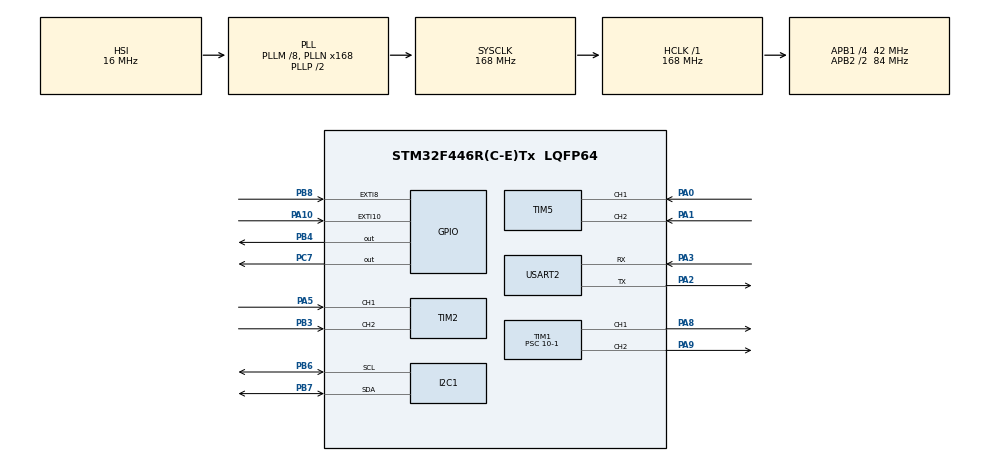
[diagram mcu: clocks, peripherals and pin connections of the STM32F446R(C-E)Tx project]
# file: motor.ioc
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Mcu.Family=STM32F4
Mcu.Name=STM32F446R(C-E)Tx
Mcu.Package=LQFP64
NVIC.EXTI15_10_IRQn=true\:0\:0\:false\:false\:true\:true\:true\:true
NVIC.EXTI9_5_IRQn=true\:0\:0\:false\:false\:true\:true\:true\:true
NVIC.PriorityGroup=NVIC_PRIORITYGROUP_4
NVIC.TIM2_IRQn=true\:0\:0\:false\:false\:true\:true\:true\:true
NVIC.TIM5_IRQn=true\:0\:0\:false\:false\:true\:true\:true\:true
PA0-WKUP.Signal=S_TIM5_CH1
PA1.Signal=S_TIM5_CH2
PA10.GPIO_ModeDefaultEXTI=GPIO_MODE_IT_FALLING
PA10.Signal=GPXTI10
PA2.Mode=Asynchronous
PA2.Signal=USART2_TX
PA3.Mode=Asynchronous
PA3.Signal=USART2_RX
PA5.Signal=S_TIM2_CH1_ETR
PA8.Signal=S_TIM1_CH1
PA9.Signal=S_TIM1_CH2
PB3.Signal=S_TIM2_CH2
PB4.Signal=GPIO_Output
PB6.Mode=I2C
PB6.Signal=I2C1_SCL
PB7.Mode=I2C
PB7.Signal=I2C1_SDA
PB8.Signal=GPXTI8
PC14-OSC32_IN.Mode=LSE-External-Oscillator
PC14-OSC32_IN.Signal=RCC_OSC32_IN
PC15-OSC32_OUT.Mode=LSE-External-Oscillator
PC15-OSC32_OUT.Signal=RCC_OSC32_OUT
PC7.Signal=GPIO_Output
PH0-OSC_IN.Mode=HSE-External-Oscillator
PH0-OSC_IN.Signal=RCC_OSC_IN
PH1-OSC_OUT.Mode=HSE-External-Oscillator
PH1-OSC_OUT.Signal=RCC_OSC_OUT
ProjectManager.HeapSize=0x200
ProjectManager.StackSize=0x400
ProjectManager.TargetToolchain=STM32CubeIDE
RCC.AHBFreq_Value=168000000
RCC.APB1CLKDivider=RCC_HCLK_DIV4
RCC.APB1Freq_Value=42000000
RCC.APB1TimFreq_Value=84000000
RCC.APB2CLKDivider=RCC_HCLK_DIV2
RCC.APB2Freq_Value=84000000
RCC.APB2TimFreq_Value=168000000
RCC.CortexFreq_Value=168000000
RCC.HCLKFreq_Value=168000000
RCC.HSE_VALUE=8000000
RCC.PLLM=8
RCC.PLLN=168
RCC.SYSCLKFreq_VALUE=168000000
RCC.SYSCLKSource=RCC_SYSCLKSOURCE_PLLCLK
RCC.USBFreq_Value=168000000
RCC.VCOOutputFreq_Value=336000000
SH.S_TIM1_CH1.0=TIM1_CH1,PWM Generation1 CH1
SH.S_TIM1_CH2.0=TIM1_CH2,PWM Generation2 CH2
SH.S_TIM2_CH1_ETR.0=TIM2_CH1,Encoder_Interface
SH.S_TIM2_CH2.0=TIM2_CH2,Encoder_Interface
SH.S_TIM5_CH1.0=TIM5_CH1,Encoder_Interface
SH.S_TIM5_CH2.0=TIM5_CH2,Encoder_Interface
TIM1.Channel-PWM\ Generation1\ CH1=TIM_CHANNEL_1
TIM1.Channel-PWM\ Generation2\ CH2=TIM_CHANNEL_2
TIM1.Period=42000-1
TIM1.Prescaler=10-1
TIM1.Pulse-PWM\ Generation1\ CH1=21000-1
TIM1.Pulse-PWM\ Generation2\ CH2=21000-1
TIM2.EncoderMode=TIM_ENCODERMODE_TI12
TIM5.EncoderMode=TIM_ENCODERMODE_TI12
TIM5.IC1Filter=10
TIM5.IC2Filter=10
USART2.VirtualMode=VM_ASYNC
VP_TIM1_VS_ClockSourceINT.Mode=Internal
board=custom

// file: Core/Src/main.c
/* USER CODE BEGIN Header */
/**
  ******************************************************************************
  * @file           : main.c
  * @brief          : Main program body
  ******************************************************************************
  * @attention
  *
  * Copyright (c) 2022 STMicroelectronics.
  * All rights reserved.
  *
  * This software is licensed under terms that can be found in the LICENSE file
  * in the root directory of this software component.
  * If no LICENSE file comes with this software, it is provided AS-IS.
  *
  ******************************************************************************
  */
/* USER CODE END Header */
#include "main.h"

/* USER CODE BEGIN Includes */
#include "VL53L1X_api.h"
#include <stdio.h>
/* USER CODE END Includes */

I2C_HandleTypeDef hi2c1;

TIM_HandleTypeDef htim1;
TIM_HandleTypeDef htim2;
TIM_HandleTypeDef htim5;

UART_HandleTypeDef huart2;

/* USER CODE BEGIN PV */
volatile unsigned int counter0 = 0;
volatile unsigned int counter1 = 0;
volatile unsigned int oldCounter0 = 0;
volatile unsigned int oldCounter1 = 0;
volatile long diff0 = 0;
volatile long diff1 = 0;
volatile float speed0 = 0.0f;
volatile float speed1 = 0.0f;
volatile int rnd = 0;

volatile float set_speed0 = 0.0f;
volatile float set_speed1 = 0.0f;

uint16_t dev = 0x52;
volatile uint16_t dis = 0;

float Kp = 1.0f;
float Ki = 0.9f;
float Kd = 0.9f;

float right_before_error0 = 0.0f;
float right_before_error1 = 0.0f;
float before_error0 = 0.0f;
float before_error1 = 0.0f;

volatile long ccr0 = 21000;
volatile long ccr1 = 21000;
/* USER CODE END PV */

void SystemClock_Config(void);
static void MX_GPIO_Init(void);
static void MX_TIM1_Init(void);
static void MX_TIM2_Init(void);
static void MX_I2C1_Init(void);
static void MX_USART2_UART_Init(void);
static void MX_TIM5_Init(void);
/* USER CODE BEGIN PFP */
int _write(int file, char* p, int len) {
	HAL_UART_Transmit(&huart2, p, len, 16);
	return len;
}
/* USER CODE END PFP */

/* USER CODE BEGIN 0 */
void setLeftMotorSpeed(float speed) {
	if (speed < 0.0f) {
		HAL_GPIO_WritePin(GPIOC, GPIO_PIN_7, GPIO_PIN_SET);
		speed *= -1;
	}
	else {
		HAL_GPIO_WritePin(GPIOC, GPIO_PIN_7, GPIO_PIN_RESET);

	}

	 //uint32_t ccr = (uint32_t) speed * 20;
	 if (ccr0 > TIM1->ARR) ccr0 = TIM1->ARR;
	 printf("%d\r\n", ccr0);
	 TIM1->CCR2 = ccr0;
	 //HAL_Delay(50);
}

void setRightMotorSpeed(float speed) {
	if (speed < 0.0f) {
		HAL_GPIO_WritePin(GPIOB, GPIO_PIN_4, GPIO_PIN_RESET);
		speed *= -1;
	}
	else {
		HAL_GPIO_WritePin(GPIOB, GPIO_PIN_4, GPIO_PIN_SET);
	}

	 //uint32_t ccr = (uint32_t) speed * 20;
	 if (ccr1 > TIM1->ARR) ccr1 = TIM1->ARR;
	 TIM1->CCR1 = ccr1;
	 //HAL_Delay(50);
}

void controlLeftSpeed(float desired_speed0) {
	float error0 = desired_speed0 - speed0;

	float e1 = error0 - right_before_error0;
	float e2 = error0 - right_before_error0 + before_error0;
	float u = Kp * e1 + Ki * error0 + Kd * e2;
	ccr0 += u;
	printf("%f\r\n", desired_speed0);
	setLeftMotorSpeed(desired_speed0);
	before_error0 = right_before_error0;
	right_before_error0 = error0;
}

void controlRightSpeed(float desired_speed1) {
	float error1 = desired_speed1 - speed1;

	float e1 = error1 - right_before_error1;
	float e2 = error1 - right_before_error1 + before_error1;
	float u = Kp * e1 + Ki * error1 + Kd * e2;
	ccr1 += u;
	setRightMotorSpeed(desired_speed1);
	before_error1 = right_before_error1;
	right_before_error1 = error1;
}

void rampLeft(float desired_speed0) {
	float e = desired_speed0 - speed0;
	set_speed0 = speed0;
	float dx = e / 20;
	for (int i = 0; i != 20; ++i) {
		controlLeftSpeed((set_speed0 += dx));
		HAL_Delay(50);
	}
}

void rampRight(float desired_speed1) {
	float e = desired_speed1 - speed1;
	set_speed1 = speed1;
	float dx = e / 20;
	for (int i = 0; i != 20; ++i) {
		controlRightSpeed((set_speed1 += dx));
		HAL_Delay(50);
	}
}

void HAL_GPIO_EXTI_Callback(uint16_t GPIO_Pin)
{
	if (GPIO_Pin == GPIO_PIN_8) {
		++rnd;
		//printf("%d %d\r\n ", __HAL_TIM_GET_COUNTER(&htim5), rnd);
	}
	  VL53L1X_GetDistance(dev, &dis);
	  VL53L1X_ClearInterrupt(dev);
	 // controlLeftSpeed();
	 // controlRightSpeed();
	  //printf("desired: %f %f\r\n", desired_speed0, desired_speed1);
}
/* USER CODE END 0 */

int main(void)
{

  /* MCU Configuration--------------------------------------------------------*/

  /* Reset of all peripherals, Initializes the Flash interface and the Systick. */
  HAL_Init();

  /* Configure the system clock */
  SystemClock_Config();

  /* Initialize all configured peripherals */
  MX_GPIO_Init();
  MX_TIM1_Init();
  MX_TIM2_Init();
  MX_I2C1_Init();
  MX_USART2_UART_Init();
  MX_TIM5_Init();
  /* USER CODE BEGIN 2 */
  HAL_TIM_PWM_Start(&htim1, TIM_CHANNEL_1);
  HAL_TIM_PWM_Start(&htim1, TIM_CHANNEL_2);

  HAL_TIM_Encoder_Start_IT(&htim2, TIM_CHANNEL_ALL);
  HAL_TIM_Encoder_Start_IT(&htim5, TIM_CHANNEL_ALL);

  HAL_GPIO_WritePin(GPIOA, GPIO_PIN_10, GPIO_PIN_SET);
  HAL_Delay(5);

	uint8_t bootState = 0;
	uint8_t boot[8] = {66, 79, 79, 84, 48, 13, 10, 0};
	while(bootState==0){
		VL53L1X_BootState(dev, &bootState);
		HAL_UART_Transmit(&huart2, boot, 8, 10);
		HAL_Delay(2);
	}
	HAL_Delay(5);
	VL53L1X_SensorInit(dev);
	VL53L1X_SetInterruptPolarity(dev, 0);
	VL53L1X_StartRanging(dev);
  /* USER CODE END 2 */

  /* Infinite loop */
  /* USER CODE BEGIN WHILE */
	//uint8_t dataReady = 0;
  long tick = HAL_GetTick();
  while (1)
  {

	  if (HAL_GetTick() - tick > 100L) {
		  counter0 = __HAL_TIM_GET_COUNTER(&htim2);
		  counter1 = __HAL_TIM_GET_COUNTER(&htim5);

		  if (__HAL_TIM_IS_TIM_COUNTING_DOWN(&htim2)) {
			  if (counter0 <= oldCounter0){
				  // pure forward
				  //printf("a1,");
				  diff0 = -counter0 + oldCounter0;
			  }
			  else {
				  // backward -> forward
				  //printf("a2,");
				  diff0 = (4294967295 + oldCounter0) - counter0;
			  }
		  }
		  else {
			  if (counter0 <= oldCounter0) {
				  // forward -> backward
				  //printf("a3,");
				  diff0 = (4294967295 + oldCounter0) - counter0;
			  }
			  else {
				  // pure backward
				  //printf("a4,");
				  diff0 = -counter0 + oldCounter0;
			  }
		  }

		  if (__HAL_TIM_IS_TIM_COUNTING_DOWN(&htim5)) {
			  if (counter1 >= oldCounter1) {
				  // forward -> backward change
				  //printf("b1: ");
				  diff1 = (4294967295 - oldCounter1) + counter1;
			  }

			  else {
				  // pure backward
				  //printf("b2: ");
				  diff1 = counter1 - oldCounter1;
			  }

		  	  }
		  else {
			  if (counter1 >= oldCounter1) {
				  // pure forward
				  //printf("b3: ");
				  diff1 = counter1 - oldCounter1;
			  }

			  else {
				  // backward -> forward change
				  //printf("b4: ");
				  diff1 = (4294967295 - oldCounter1) + counter1;
			  }
		  }
		  /*

		  if (counter1 > oldCounter1)
				diff1 = counter1 - oldCounter1;
		  else
			  	diff1 = (65535 - oldCounter1) + counter1;
			*/

		  /*
		  diff0 = oldCounter0 - counter0;
		  diff1 = counter1 - oldCounter1;
			*/

		  tick = HAL_GetTick();
		  oldCounter0 = __HAL_TIM_GET_COUNTER(&htim2);
		  oldCounter1 = __HAL_TIM_GET_COUNTER(&htim5);

		  speed0 = diff0 * 0.0054931640625 * 10;
		  speed1 = diff1 * 0.0054931640625 * 10;
		  printf("%f %f %d\r\n", speed0, speed1, dis);
		  //rampLeft(0.0); rampRight(0.0);
		  controlLeftSpeed(dis); controlRightSpeed(dis);
	  }
    /* USER CODE END WHILE */

    /* USER CODE BEGIN 3 */
	  /*
	  while (dataReady == 0){
		  VL53L1X_CheckForDataReady(dev, &dataReady);
		  //HAL_UART_Transmit(&huart2, getting, 6, 10);
		  HAL_Delay(2);
	  }
	  VL53L1X_GetDistance(dev, &dis);
	  	  VL53L1X_ClearInterrupt(dev);
	  	printf("%d\r\n", dis);
	  		  dataReady = 0;
	  		  HAL_Delay(50);
	  		  */
  }
  /* USER CODE END 3 */
}

void SystemClock_Config(void)
{
  RCC_OscInitTypeDef RCC_OscInitStruct = {0};
  RCC_ClkInitTypeDef RCC_ClkInitStruct = {0};

  /** Configure the main internal regulator output voltage
  */
  __HAL_RCC_PWR_CLK_ENABLE();
  __HAL_PWR_VOLTAGESCALING_CONFIG(PWR_REGULATOR_VOLTAGE_SCALE1);

  /** Initializes the RCC Oscillators according to the specified parameters
  * in the RCC_OscInitTypeDef structure.
  */
  RCC_OscInitStruct.OscillatorType = RCC_OSCILLATORTYPE_HSI;
  RCC_OscInitStruct.HSIState = RCC_HSI_ON;
  RCC_OscInitStruct.HSICalibrationValue = RCC_HSICALIBRATION_DEFAULT;
  RCC_OscInitStruct.PLL.PLLState = RCC_PLL_ON;
  RCC_OscInitStruct.PLL.PLLSource = RCC_PLLSOURCE_HSI;
  RCC_OscInitStruct.PLL.PLLM = 8;
  RCC_OscInitStruct.PLL.PLLN = 168;
  RCC_OscInitStruct.PLL.PLLP = RCC_PLLP_DIV2;
  RCC_OscInitStruct.PLL.PLLQ = 2;
  RCC_OscInitStruct.PLL.PLLR = 2;
  if (HAL_RCC_OscConfig(&RCC_OscInitStruct) != HAL_OK)
  {
    Error_Handler();
  }

  /** Initializes the CPU, AHB and APB buses clocks
  */
  RCC_ClkInitStruct.ClockType = RCC_CLOCKTYPE_HCLK|RCC_CLOCKTYPE_SYSCLK
                              |RCC_CLOCKTYPE_PCLK1|RCC_CLOCKTYPE_PCLK2;
  RCC_ClkInitStruct.SYSCLKSource = RCC_SYSCLKSOURCE_PLLCLK;
  RCC_ClkInitStruct.AHBCLKDivider = RCC_SYSCLK_DIV1;
  RCC_ClkInitStruct.APB1CLKDivider = RCC_HCLK_DIV4;
  RCC_ClkInitStruct.APB2CLKDivider = RCC_HCLK_DIV2;

  if (HAL_RCC_ClockConfig(&RCC_ClkInitStruct, FLASH_LATENCY_5) != HAL_OK)
  {
    Error_Handler();
  }
}

static void MX_I2C1_Init(void)
{

  hi2c1.Instance = I2C1;
  hi2c1.Init.ClockSpeed = 100000;
  hi2c1.Init.DutyCycle = I2C_DUTYCYCLE_2;
  hi2c1.Init.OwnAddress1 = 0;
  hi2c1.Init.AddressingMode = I2C_ADDRESSINGMODE_7BIT;
  hi2c1.Init.DualAddressMode = I2C_DUALADDRESS_DISABLE;
  hi2c1.Init.OwnAddress2 = 0;
  hi2c1.Init.GeneralCallMode = I2C_GENERALCALL_DISABLE;
  hi2c1.Init.NoStretchMode = I2C_NOSTRETCH_DISABLE;
  if (HAL_I2C_Init(&hi2c1) != HAL_OK)
  {
    Error_Handler();
  }

}

static void MX_TIM1_Init(void)
{

  TIM_ClockConfigTypeDef sClockSourceConfig = {0};
  TIM_MasterConfigTypeDef sMasterConfig = {0};
  TIM_OC_InitTypeDef sConfigOC = {0};
  TIM_BreakDeadTimeConfigTypeDef sBreakDeadTimeConfig = {0};

  htim1.Instance = TIM1;
  htim1.Init.Prescaler = 10-1;
  htim1.Init.CounterMode = TIM_COUNTERMODE_UP;
  htim1.Init.Period = 42000-1;
  htim1.Init.ClockDivision = TIM_CLOCKDIVISION_DIV1;
  htim1.Init.RepetitionCounter = 0;
  htim1.Init.AutoReloadPreload = TIM_AUTORELOAD_PRELOAD_DISABLE;
  if (HAL_TIM_Base_Init(&htim1) != HAL_OK)
  {
    Error_Handler();
  }
  sClockSourceConfig.ClockSource = TIM_CLOCKSOURCE_INTERNAL;
  if (HAL_TIM_ConfigClockSource(&htim1, &sClockSourceConfig) != HAL_OK)
  {
    Error_Handler();
  }
  if (HAL_TIM_PWM_Init(&htim1) != HAL_OK)
  {
    Error_Handler();
  }
  sMasterConfig.MasterOutputTrigger = TIM_TRGO_RESET;
  sMasterConfig.MasterSlaveMode = TIM_MASTERSLAVEMODE_DISABLE;
  if (HAL_TIMEx_MasterConfigSynchronization(&htim1, &sMasterConfig) != HAL_OK)
  {
    Error_Handler();
  }
  sConfigOC.OCMode = TIM_OCMODE_PWM1;
  sConfigOC.Pulse = 21000-1;
  sConfigOC.OCPolarity = TIM_OCPOLARITY_HIGH;
  sConfigOC.OCNPolarity = TIM_OCNPOLARITY_HIGH;
  sConfigOC.OCFastMode = TIM_OCFAST_DISABLE;
  sConfigOC.OCIdleState = TIM_OCIDLESTATE_RESET;
  sConfigOC.OCNIdleState = TIM_OCNIDLESTATE_RESET;
  if (HAL_TIM_PWM_ConfigChannel(&htim1, &sConfigOC, TIM_CHANNEL_1) != HAL_OK)
  {
    Error_Handler();
  }
  if (HAL_TIM_PWM_ConfigChannel(&htim1, &sConfigOC, TIM_CHANNEL_2) != HAL_OK)
  {
    Error_Handler();
  }
  sBreakDeadTimeConfig.OffStateRunMode = TIM_OSSR_DISABLE;
  sBreakDeadTimeConfig.OffStateIDLEMode = TIM_OSSI_DISABLE;
  sBreakDeadTimeConfig.LockLevel = TIM_LOCKLEVEL_OFF;
  sBreakDeadTimeConfig.DeadTime = 0;
  sBreakDeadTimeConfig.BreakState = TIM_BREAK_DISABLE;
  sBreakDeadTimeConfig.BreakPolarity = TIM_BREAKPOLARITY_HIGH;
  sBreakDeadTimeConfig.AutomaticOutput = TIM_AUTOMATICOUTPUT_DISABLE;
  if (HAL_TIMEx_ConfigBreakDeadTime(&htim1, &sBreakDeadTimeConfig) != HAL_OK)
  {
    Error_Handler();
  }
  HAL_TIM_MspPostInit(&htim1);

}

static void MX_TIM2_Init(void)
{

  TIM_Encoder_InitTypeDef sConfig = {0};
  TIM_MasterConfigTypeDef sMasterConfig = {0};

  htim2.Instance = TIM2;
  htim2.Init.Prescaler = 0;
  htim2.Init.CounterMode = TIM_COUNTERMODE_UP;
  htim2.Init.Period = 4294967295;
  htim2.Init.ClockDivision = TIM_CLOCKDIVISION_DIV1;
  htim2.Init.AutoReloadPreload = TIM_AUTORELOAD_PRELOAD_DISABLE;
  sConfig.EncoderMode = TIM_ENCODERMODE_TI12;
  sConfig.IC1Polarity = TIM_ICPOLARITY_RISING;
  sConfig.IC1Selection = TIM_ICSELECTION_DIRECTTI;
  sConfig.IC1Prescaler = TIM_ICPSC_DIV1;
  sConfig.IC1Filter = 0;
  sConfig.IC2Polarity = TIM_ICPOLARITY_RISING;
  sConfig.IC2Selection = TIM_ICSELECTION_DIRECTTI;
  sConfig.IC2Prescaler = TIM_ICPSC_DIV1;
  sConfig.IC2Filter = 0;
  if (HAL_TIM_Encoder_Init(&htim2, &sConfig) != HAL_OK)
  {
    Error_Handler();
  }
  sMasterConfig.MasterOutputTrigger = TIM_TRGO_RESET;
  sMasterConfig.MasterSlaveMode = TIM_MASTERSLAVEMODE_DISABLE;
  if (HAL_TIMEx_MasterConfigSynchronization(&htim2, &sMasterConfig) != HAL_OK)
  {
    Error_Handler();
  }

}

static void MX_TIM5_Init(void)
{

  TIM_Encoder_InitTypeDef sConfig = {0};
  TIM_MasterConfigTypeDef sMasterConfig = {0};

  htim5.Instance = TIM5;
  htim5.Init.Prescaler = 0;
  htim5.Init.CounterMode = TIM_COUNTERMODE_UP;
  htim5.Init.Period = 4294967295;
  htim5.Init.ClockDivision = TIM_CLOCKDIVISION_DIV1;
  htim5.Init.AutoReloadPreload = TIM_AUTORELOAD_PRELOAD_DISABLE;
  sConfig.EncoderMode = TIM_ENCODERMODE_TI12;
  sConfig.IC1Polarity = TIM_ICPOLARITY_RISING;
  sConfig.IC1Selection = TIM_ICSELECTION_DIRECTTI;
  sConfig.IC1Prescaler = TIM_ICPSC_DIV1;
  sConfig.IC1Filter = 10;
  sConfig.IC2Polarity = TIM_ICPOLARITY_RISING;
  sConfig.IC2Selection = TIM_ICSELECTION_DIRECTTI;
  sConfig.IC2Prescaler = TIM_ICPSC_DIV1;
  sConfig.IC2Filter = 10;
  if (HAL_TIM_Encoder_Init(&htim5, &sConfig) != HAL_OK)
  {
    Error_Handler();
  }
  sMasterConfig.MasterOutputTrigger = TIM_TRGO_RESET;
  sMasterConfig.MasterSlaveMode = TIM_MASTERSLAVEMODE_DISABLE;
  if (HAL_TIMEx_MasterConfigSynchronization(&htim5, &sMasterConfig) != HAL_OK)
  {
    Error_Handler();
  }

}

static void MX_USART2_UART_Init(void)
{

  huart2.Instance = USART2;
  huart2.Init.BaudRate = 115200;
  huart2.Init.WordLength = UART_WORDLENGTH_8B;
  huart2.Init.StopBits = UART_STOPBITS_1;
  huart2.Init.Parity = UART_PARITY_NONE;
  huart2.Init.Mode = UART_MODE_TX_RX;
  huart2.Init.HwFlowCtl = UART_HWCONTROL_NONE;
  huart2.Init.OverSampling = UART_OVERSAMPLING_16;
  if (HAL_UART_Init(&huart2) != HAL_OK)
  {
    Error_Handler();
  }

}

static void MX_GPIO_Init(void)
{
  GPIO_InitTypeDef GPIO_InitStruct = {0};

  /* GPIO Ports Clock Enable */
  __HAL_RCC_GPIOC_CLK_ENABLE();
  __HAL_RCC_GPIOH_CLK_ENABLE();
  __HAL_RCC_GPIOA_CLK_ENABLE();
  __HAL_RCC_GPIOB_CLK_ENABLE();

  /*Configure GPIO pin Output Level */
  HAL_GPIO_WritePin(GPIOC, GPIO_PIN_7, GPIO_PIN_RESET);

  /*Configure GPIO pin Output Level */
  HAL_GPIO_WritePin(GPIOB, GPIO_PIN_4, GPIO_PIN_RESET);

  /*Configure GPIO pin : PC7 */
  GPIO_InitStruct.Pin = GPIO_PIN_7;
  GPIO_InitStruct.Mode = GPIO_MODE_OUTPUT_PP;
  GPIO_InitStruct.Pull = GPIO_NOPULL;
  GPIO_InitStruct.Speed = GPIO_SPEED_FREQ_LOW;
  HAL_GPIO_Init(GPIOC, &GPIO_InitStruct);

  /*Configure GPIO pin : PA10 */
  GPIO_InitStruct.Pin = GPIO_PIN_10;
  GPIO_InitStruct.Mode = GPIO_MODE_IT_FALLING;
  GPIO_InitStruct.Pull = GPIO_NOPULL;
  HAL_GPIO_Init(GPIOA, &GPIO_InitStruct);

  /*Configure GPIO pin : PB4 */
  GPIO_InitStruct.Pin = GPIO_PIN_4;
  GPIO_InitStruct.Mode = GPIO_MODE_OUTPUT_PP;
  GPIO_InitStruct.Pull = GPIO_NOPULL;
  GPIO_InitStruct.Speed = GPIO_SPEED_FREQ_LOW;
  HAL_GPIO_Init(GPIOB, &GPIO_InitStruct);

  /*Configure GPIO pin : PB8 */
  GPIO_InitStruct.Pin = GPIO_PIN_8;
  GPIO_InitStruct.Mode = GPIO_MODE_IT_RISING;
  GPIO_InitStruct.Pull = GPIO_NOPULL;
  HAL_GPIO_Init(GPIOB, &GPIO_InitStruct);

  /* EXTI interrupt init*/
  HAL_NVIC_SetPriority(EXTI9_5_IRQn, 0, 0);
  HAL_NVIC_EnableIRQ(EXTI9_5_IRQn);

  HAL_NVIC_SetPriority(EXTI15_10_IRQn, 0, 0);
  HAL_NVIC_EnableIRQ(EXTI15_10_IRQn);

}

void Error_Handler(void)
{
  __disable_irq();
  while (1)
  {
  }
}
